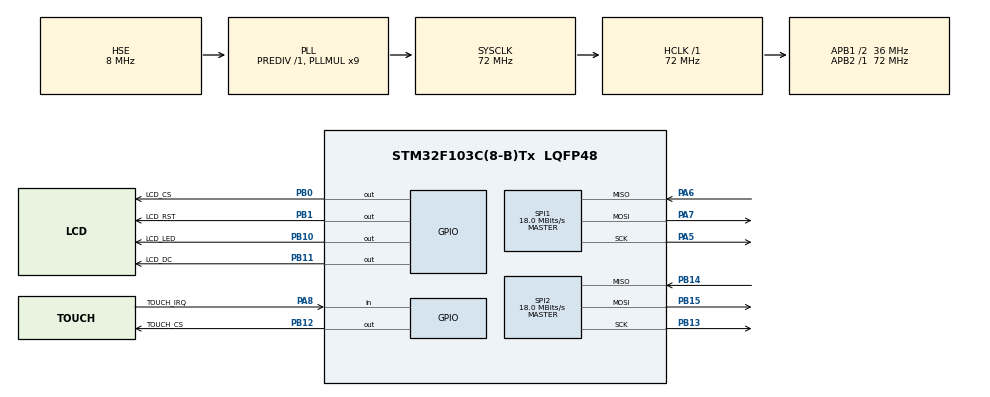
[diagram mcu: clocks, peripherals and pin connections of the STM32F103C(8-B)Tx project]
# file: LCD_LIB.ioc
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Mcu.Family=STM32F1
Mcu.Name=STM32F103C(8-B)Tx
Mcu.Package=LQFP48
NVIC.PriorityGroup=NVIC_PRIORITYGROUP_4
PA13.Mode=Serial_Wire
PA13.Signal=SYS_JTMS-SWDIO
PA14.Mode=Serial_Wire
PA14.Signal=SYS_JTCK-SWCLK
PA5.Mode=Full_Duplex_Master
PA5.Signal=SPI1_SCK
PA6.Mode=Full_Duplex_Master
PA6.Signal=SPI1_MISO
PA7.Mode=Full_Duplex_Master
PA7.Signal=SPI1_MOSI
PA8.GPIO_Label=TOUCH_IRQ
PA8.Signal=GPIO_Input
PB0.GPIO_Label=LCD_CS
PB0.GPIO_Speed=GPIO_SPEED_FREQ_HIGH
PB0.Signal=GPIO_Output
PB1.GPIO_Label=LCD_RST
PB1.GPIO_Speed=GPIO_SPEED_FREQ_HIGH
PB1.Signal=GPIO_Output
PB10.GPIO_Label=LCD_LED
PB10.GPIO_Speed=GPIO_SPEED_FREQ_HIGH
PB10.Signal=GPIO_Output
PB11.GPIO_Label=LCD_DC
PB11.Signal=GPIO_Output
PB12.GPIO_Label=TOUCH_CS
PB12.GPIO_Speed=GPIO_SPEED_FREQ_LOW
PB12.Signal=GPIO_Output
PB13.Mode=Full_Duplex_Master
PB13.Signal=SPI2_SCK
PB14.Mode=Full_Duplex_Master
PB14.Signal=SPI2_MISO
PB15.Mode=Full_Duplex_Master
PB15.Signal=SPI2_MOSI
PD0-OSC_IN.Mode=HSE-External-Oscillator
PD0-OSC_IN.Signal=RCC_OSC_IN
PD1-OSC_OUT.Mode=HSE-External-Oscillator
PD1-OSC_OUT.Signal=RCC_OSC_OUT
ProjectManager.HeapSize=0x200
ProjectManager.StackSize=0x400
ProjectManager.TargetToolchain=STM32CubeIDE
RCC.AHBFreq_Value=72000000
RCC.APB1CLKDivider=RCC_HCLK_DIV2
RCC.APB1Freq_Value=36000000
RCC.APB1TimFreq_Value=72000000
RCC.APB2Freq_Value=72000000
RCC.APB2TimFreq_Value=72000000
RCC.HCLKFreq_Value=72000000
RCC.PLLMUL=RCC_PLL_MUL9
RCC.PLLSourceVirtual=RCC_PLLSOURCE_HSE
RCC.SYSCLKFreq_VALUE=72000000
RCC.SYSCLKSource=RCC_SYSCLKSOURCE_PLLCLK
RCC.USBFreq_Value=72000000
SPI1.BaudRatePrescaler=SPI_BAUDRATEPRESCALER_4
SPI1.CalculateBaudRate=18.0 MBits/s
SPI1.Direction=SPI_DIRECTION_2LINES
SPI1.Mode=SPI_MODE_MASTER
SPI1.VirtualType=VM_MASTER
SPI2.CalculateBaudRate=18.0 MBits/s
SPI2.Direction=SPI_DIRECTION_2LINES
SPI2.Mode=SPI_MODE_MASTER
SPI2.VirtualType=VM_MASTER
board=custom

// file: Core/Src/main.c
/* USER CODE BEGIN Header */
/**
  ******************************************************************************
  * @file           : main.c
  * @brief          : Main program body
  ******************************************************************************
  * @attention
  *
  * Copyright (c) 2023 STMicroelectronics.
  * All rights reserved.
  *
  * This software is licensed under terms that can be found in the LICENSE file
  * in the root directory of this software component.
  * If no LICENSE file comes with this software, it is provided AS-IS.
  *
  ******************************************************************************
  */
/* USER CODE END Header */
#include "main.h"
#include "spi.h"
#include "gpio.h"

/* USER CODE BEGIN Includes */
#include "lcd.h"
#include "Touch.h"
/* USER CODE END Includes */

void SystemClock_Config(void);

int main(void)
{
  /* USER CODE BEGIN 1 */
  uint16_t x=0,y=0;
  /* USER CODE END 1 */

  /* MCU Configuration--------------------------------------------------------*/

  /* Reset of all peripherals, Initializes the Flash interface and the Systick. */
  HAL_Init();

  /* Configure the system clock */
  SystemClock_Config();

  /* USER CODE BEGIN SysInit */
  uint16_t tx,ty;
  /* USER CODE END SysInit */

  /* Initialize all configured peripherals */
  MX_GPIO_Init();
  MX_SPI1_Init();
  MX_SPI2_Init();
  /* USER CODE BEGIN 2 */
  LCD_Init();
  Show_Str(0,16,RED,BLACK,(uint8_t *)"JLML",16,0);
  Show_Str(0,32,RED,BLACK,(uint8_t *)"가",16,0);
  /* USER CODE END 2 */

  /* Infinite loop */
  /* USER CODE BEGIN WHILE */
  while (1)
  {
    tx=x;ty=y;
    ILI9341_TouchGetCoordinates(&x,&y);
    gui_circle(x,y,WHITE,10,1);
    LCD_ShowNum(0,0,x,3,16);
    LCD_ShowNum(0,16,y,3,16);
    if (tx==x&&ty==y)
    {
      gui_circle(x,y,BLACK,10,1);
    }
    HAL_Delay(200);
    /* USER CODE END WHILE */

  }
}

void SystemClock_Config(void)
{
  RCC_OscInitTypeDef RCC_OscInitStruct = {0};
  RCC_ClkInitTypeDef RCC_ClkInitStruct = {0};

  /** Initializes the RCC Oscillators according to the specified parameters
  * in the RCC_OscInitTypeDef structure.
  */
  RCC_OscInitStruct.OscillatorType = RCC_OSCILLATORTYPE_HSE;
  RCC_OscInitStruct.HSEState = RCC_HSE_ON;
  RCC_OscInitStruct.HSEPredivValue = RCC_HSE_PREDIV_DIV1;
  RCC_OscInitStruct.HSIState = RCC_HSI_ON;
  RCC_OscInitStruct.PLL.PLLState = RCC_PLL_ON;
  RCC_OscInitStruct.PLL.PLLSource = RCC_PLLSOURCE_HSE;
  RCC_OscInitStruct.PLL.PLLMUL = RCC_PLL_MUL9;
  if (HAL_RCC_OscConfig(&RCC_OscInitStruct) != HAL_OK)
  {
    Error_Handler();
  }

  /** Initializes the CPU, AHB and APB buses clocks
  */
  RCC_ClkInitStruct.ClockType = RCC_CLOCKTYPE_HCLK|RCC_CLOCKTYPE_SYSCLK
                              |RCC_CLOCKTYPE_PCLK1|RCC_CLOCKTYPE_PCLK2;
  RCC_ClkInitStruct.SYSCLKSource = RCC_SYSCLKSOURCE_PLLCLK;
  RCC_ClkInitStruct.AHBCLKDivider = RCC_SYSCLK_DIV1;
  RCC_ClkInitStruct.APB1CLKDivider = RCC_HCLK_DIV2;
  RCC_ClkInitStruct.APB2CLKDivider = RCC_HCLK_DIV1;

  if (HAL_RCC_ClockConfig(&RCC_ClkInitStruct, FLASH_LATENCY_2) != HAL_OK)
  {
    Error_Handler();
  }
}

void Error_Handler(void)
{
  __disable_irq();
  while (1)
  {
  }
}
